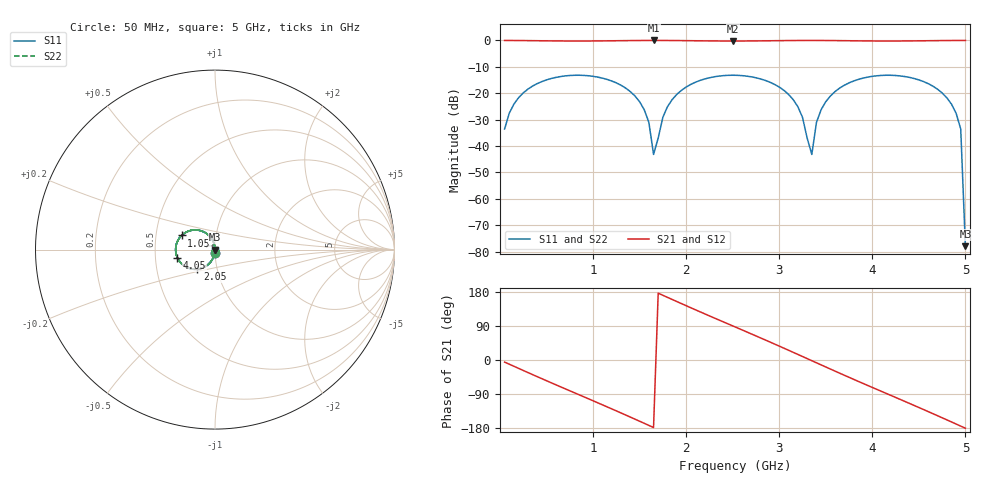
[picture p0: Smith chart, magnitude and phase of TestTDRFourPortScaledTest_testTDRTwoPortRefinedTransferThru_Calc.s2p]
# MHz MA S R 50.0
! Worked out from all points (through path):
!   100 points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, 50 MHz to 5 GHz, reference 50 ohm
!   highest |S21| = 0.00 dB at 1.65 GHz (marker M1); lowest = -0.2 dB at 2.5 GHz (marker M2)
!   group delay of S21, straight-line fit = 300 ps
!   lowest |S11| = -77.9 dB at 5 GHz (marker M3), VSWR 1.00, Z = 50 + j0 ohm
!   |S11| at or under -10 dB: start of sweep to end of sweep
!   |S22| runs from -94.0 to -13.2 dB; largest |S21 - S12| = 8.9e-05
!   S11 on the Smith chart (normalised r, x): 50 MHz: 1.00, -0.04; 1.05 GHz: 0.68, +0.11; 2.05 GHz: 0.80, -0.18; 4.05 GHz: 0.65, -0.06; 5 GHz: 1.00, +0.00
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50  0.02106 -95.3  0.9998 -5.5  0.9998 -5.5  0.02118 -95.6
300  0.1196 -123.1  0.9928 -33.0  0.9929 -33.0  0.1196 -123.0
900  0.2178 173.0  0.976 -97.0  0.976 -97.0  0.2178 173.0
1050  0.2022 157.1  0.9793 -112.9  0.9793 -112.9  0.2022 157.1
1500  0.06917 108.4  0.9976 -161.6  0.9976 -161.6  0.06946 108.4
1600  0.02799 96.9  0.9996 -172.6  0.9996 -172.6  0.02826 97.6
1650  0.006944 90.2  1 -178.2  0.9999 -178.2  0.007093 92.7
1700  0.01415 -93.0  0.9999 176.3  0.9999 176.3  0.01415 -94.1
1800  0.05576 -104.7  0.9984 165.3  0.9984 165.3  0.05594 -104.7
2050  0.1472 -132.1  0.9891 137.9  0.9891 137.9  0.1471 -132.1
2500  0.2194 -180.0  0.9756 90.0  0.9755 90.0  0.2195 -180.0
2550  0.2185 174.7  0.9758 84.7  0.9758 84.7  0.2185 174.7
3100  0.09524 115.8  0.9954 25.7  0.9954 25.7  0.09539 115.7
3350  0.006944 -90.2  1 -1.8  0.9999 -1.8  0.007093 -92.7
3400  0.02799 -96.9  0.9996 -7.4  0.9996 -7.4  0.02826 -97.6
3550  0.08882 -113.9  0.996 -23.9  0.996 -23.9  0.0891 -113.9
4050  0.2144 -167.7  0.9767 -77.7  0.9767 -77.7  0.2144 -167.7
4200  0.2191 176.5  0.9757 -93.5  0.9757 -93.5  0.2191 176.5
4650  0.1366 128.5  0.9906 -141.5  0.9907 -141.5  0.1365 128.5
4900  0.04193 101.0  0.9991 -168.9  0.9992 -168.9  0.04214 101.0
4950  0.02106 95.3  0.9998 -174.5  0.9998 -174.5  0.02118 95.6
5000  0.000127 0.0  1 -180.0  1 -180.0  2e-05 180.0
